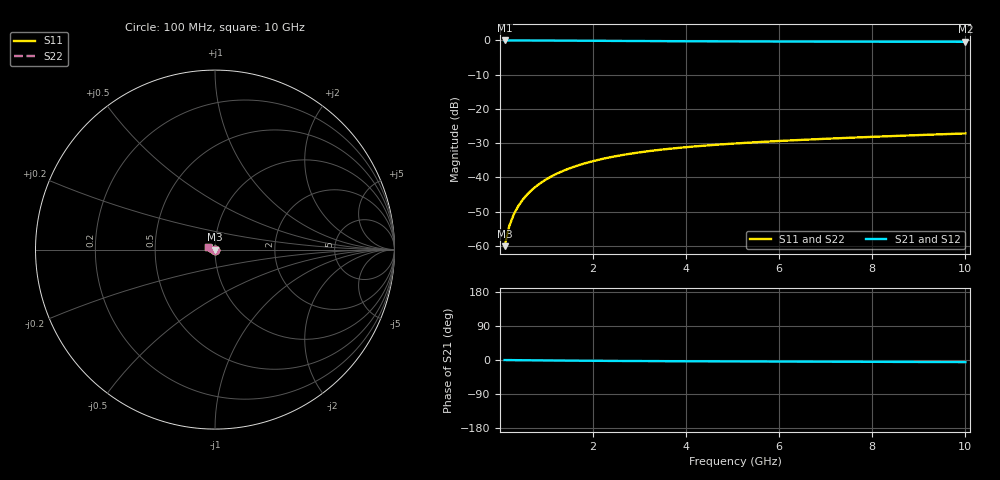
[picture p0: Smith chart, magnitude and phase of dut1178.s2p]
! Touchstone file exported from HFSS 2024.1.0
!  File:  C:/UserFiles/LocalFiles/RDL_TSV_Batchsim/temp_TSV1_1178_1780074393.aedt
!  Generated:  01:13:45 AM May 30, 2026
!  Design:  TSV1
!  Project:  temp_TSV1_1178_1780074393
!  Setup:  Setup1
!  Solution:  Sweep
! Variables:
!  dtsv = 8.15um
!  hbump = 3um
!  htsv = 84.55um
!  lrdl = 252.1521522um
!  p = 40
!  p1 = 54.31um
!  t = 500um
!  trdl = 3um
!  wrdl = 24.89489489um
# GHz S MA R 50.000000
! Terminal data exported
! Port[1] = TSV22_T1
! Port[2] = TSV22_T2
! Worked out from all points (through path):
!   100 points, 100 MHz to 10 GHz, reference 50 ohm
!   highest |S21| = 0.00 dB at 100 MHz (marker M1); lowest = -0.4 dB at 10 GHz (marker M2)
!   lowest |S11| = -60.1 dB at 100 MHz (marker M3), VSWR 1.00, Z = 50 - j0.0968 ohm
!   |S11| at or under -10 dB: start of sweep to end of sweep
!   |S22| runs from -60.1 to -27.2 dB; largest |S21 - S12| = 3.2e-15
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0.1  0.0009856 -78.9  0.9997 -0.1  0.9997 -0.1  0.0009856 -78.9
! Gamma 0 0 0 0
! Port Impedance 50 0 50 0
0.2  0.001942 -87.3  0.9996 -0.2  0.9996 -0.2  0.001942 -87.3
0.3  0.002904 -91.6  0.9994 -0.4  0.9994 -0.4  0.002904 -91.6
0.4  0.003861 -94.8  0.9992 -0.5  0.9992 -0.5  0.003861 -94.8
0.5  0.004811 -97.5  0.9989 -0.6  0.9989 -0.6  0.004811 -97.5
0.6  0.005752 -100.0  0.9985 -0.7  0.9985 -0.7  0.005752 -100.0
0.7  0.006681 -102.4  0.998 -0.8  0.998 -0.8  0.006681 -102.4
0.8  0.007598 -104.6  0.9975 -0.9  0.9975 -0.9  0.007598 -104.6
0.9  0.0085 -106.8  0.997 -1.1  0.997 -1.1  0.0085 -106.8
1.1  0.01026 -111.0  0.9958 -1.3  0.9958 -1.3  0.01026 -111.0
1.4  0.01276 -117.0  0.9936 -1.6  0.9936 -1.6  0.01276 -117.0
1.6  0.01433 -120.8  0.9921 -1.8  0.9921 -1.8  0.01433 -120.8
1.8  0.01582 -124.4  0.9905 -1.9  0.9905 -1.9  0.01582 -124.4
2.1  0.0179 -129.7  0.988 -2.2  0.988 -2.2  0.0179 -129.7
2.5  0.02041 -136.2  0.9846 -2.5  0.9846 -2.5  0.02041 -136.2
2.9  0.02263 -142.2  0.9814 -2.7  0.9814 -2.7  0.02263 -142.2
3.4  0.02506 -149.1  0.9777 -3.0  0.9777 -3.0  0.02506 -149.1
4.2  0.02832 -158.8  0.9726 -3.4  0.9726 -3.4  0.02832 -158.8
5.1  0.03134 -168.2  0.9681 -3.7  0.9681 -3.7  0.03134 -168.2
6.7  0.0358 178.1  0.9623 -4.3  0.9623 -4.3  0.0358 178.1
8.4  0.03998 166.5  0.9582 -5.0  0.9582 -5.0  0.03998 166.5
10  0.04377 157.5  0.9556 -5.6  0.9556 -5.6  0.04377 157.5
